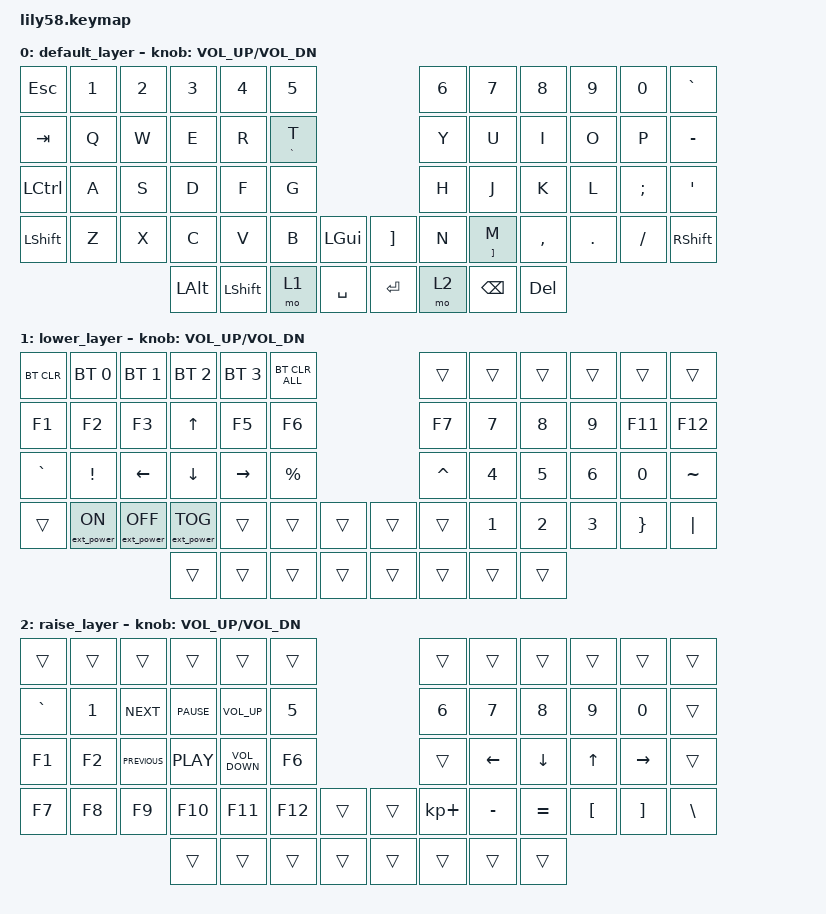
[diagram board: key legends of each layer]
/*
 * Copyright (c) 2020 The ZMK Contributors
 *
 * SPDX-License-Identifier: MIT
 */

#include <behaviors.dtsi>
#include <dt-bindings/zmk/bt.h>
#include <dt-bindings/zmk/ext_power.h>
#include <dt-bindings/zmk/keys.h>

/ {
    combos {
        compatible = "zmk,combos";

        z {
            bindings = <&kp LEFT_PARENTHESIS>;
            key-positions = <27 28>;
        };

        z1 {
            bindings = <&kp RIGHT_PARENTHESIS>;
            key-positions = <31 32>;
        };

        ss {
            bindings = <&kp BACKSLASH>;
            key-positions = <40 39>;
        };

        sss {
            bindings = <&kp SLASH>;
            key-positions = <45 46>;
        };
    };

    behaviors {
        ss_hs_modmorph: ss_hs_modmorph {
            compatible = "zmk,behavior-mod-morph";
            label = "SS_HS_MODMORPH";
            bindings = <&kp M>, <&kp RIGHT_BRACKET>;

            #binding-cells = <0>;
            mods = <(MOD_LSFT|MOD_RSFT)>;
        };

        kh_hs_tapdance: kh_hs_tapdance {
            compatible = "zmk,behavior-tap-dance";
            label = "KH_HS_TAPDANCE";
            #binding-cells = <0>;
            tapping-term-ms = <200>;
            bindings = <&kp LEFT_BRACKET>, <&kp RIGHT_BRACKET>;
        };

        hrm: hrm {
            compatible = "zmk,behavior-hold-tap";
            #binding-cells = <2>;
            flavor = "tap-preferred";
            tapping-term-ms = <200>;
            quick-tap-ms = <200>;
            require-prior-idle-ms = <125>;
            bindings = <&kp>, <&kp>;
        };
    };

    keymap {
        compatible = "zmk,keymap";

        default_layer {
            // ------------------------------------------------------------------------------------------------------------
            // |  ESC  |  1  |  2  |  3   |  4   |  5   |                   |  6   |  7    |  8    |  9   |   0   |   `   |
            // |  TAB  |  Q  |  W  |  E   |  R   |  T   |                   |  Y   |  U    |  I    |  O   |   P   |   -   |
            // |  CTRL |  A  |  S  |  D   |  F   |  G   |                   |  H   |  J    |  K    |  L   |   ;   |   '   |
            // | SHIFT |  Z  |  X  |  C   |  V   |  B   |   "["  |  |  "]"  |  N   |  M    |  ,    |  .   |   /   | SHIFT |
            //                     | ALT  | GUI  | LOWER|  SPACE |  | ENTER | RAISE| BSPC  | GUI   |

            bindings = <
&kp ESC    &kp N1  &kp N2  &kp N3    &kp N4          &kp N5                                  &kp N6  &kp N7       &kp N8     &kp N9   &kp N0    &kp GRAVE
&kp TAB    &kp Q   &kp W   &kp E     &kp R           &hrm GRAVE T                            &kp Y   &kp U        &kp I      &kp O    &kp P     &kp MINUS
&kp LCTRL  &kp A   &kp S   &kp D     &kp F           &kp G                                   &kp H   &kp J        &kp K      &kp L    &kp SEMI  &kp SQT
&kp LSHFT  &kp Z   &kp X   &kp C     &kp V           &kp B         &kp LEFT_GUI    &kp RBKT  &kp N   &hrm RBKT M  &kp COMMA  &kp DOT  &kp FSLH  &kp RSHFT
                           &kp LALT  &kp LEFT_SHIFT  &mo 1         &kp SPACE       &kp RET   &mo 2   &kp BSPC     &kp DEL
            >;

            sensor-bindings = <&inc_dec_kp C_VOL_UP C_VOL_DN>;
        };

        lower_layer {
            // ------------------------------------------------------------------------------------------------------------
            // | BTCLR | BT1 | BT2 |  BT3 |  BT4 |  BT5 |                   |      |       |       |      |       |       |
            // |  F1   |  F2 |  F3 |  F4  |  F5  |  F6  |                   |  F7  |  F8   |  F9   |  F10 |  F11  |  F12  |
            // |   `   |  !  |  @  |  #   |  $   |  %   |                   |  ^   |  &    |  *    |  (   |   )   |   ~   |
            // |       |     |     |      |      |      |        |  |       |      |  _    |  +    |  {   |   }   |  "|"  |
            //                     |      |      |      |        |  |       |      |       |       |

            bindings = <
&bt BT_CLR  &bt BT_SEL 0      &bt BT_SEL 1       &bt BT_SEL 2       &bt BT_SEL 3     &bt BT_CLR_ALL                    &trans     &trans        &trans        &trans        &trans        &trans
&kp F1      &kp F2            &kp F3             &kp UP_ARROW       &kp F5           &kp F6                            &kp F7     &kp NUMBER_7  &kp NUMBER_8  &kp N9        &kp F11       &kp F12
&kp GRAVE   &kp EXCL          &kp LEFT_ARROW     &kp DOWN_ARROW     &kp RIGHT_ARROW  &kp PRCNT                         &kp CARET  &kp NUMBER_4  &kp N5        &kp NUMBER_6  &kp NUMBER_0  &kp TILDE
&trans      &ext_power EP_ON  &ext_power EP_OFF  &ext_power EP_TOG  &trans           &trans          &trans    &trans  &trans     &kp NUMBER_1  &kp NUMBER_2  &kp NUMBER_3  &kp RBRC      &kp PIPE
                                                 &trans             &trans           &trans          &trans    &trans  &trans     &trans        &trans
            >;

            sensor-bindings = <&inc_dec_kp C_VOL_UP C_VOL_DN>;
        };

        raise_layer {
            // ------------------------------------------------------------------------------------------------------------
            // |       |     |     |      |      |      |                   |      |       |       |      |       |       |
            // |   `   |  1  |  2  |  3   |  4   |  5   |                   |  6   |   7   |   8   |  9   |   0   |       |
            // |   F1  |  F2 |  F3 |  F4  |  F5  |  F6  |                   |      |   <-  |   v   |  ^   |  ->   |       |
            // |   F7  |  F8 |  F9 |  F10 |  F11 |  F12 |        |  |       |  +   |   -   |   =   |  [   |   ]   |   \   |
            //                     |      |      |      |        |  |       |      |       |       |

            bindings = <
&trans     &trans  &trans          &trans       &trans             &trans                     &trans       &trans     &trans     &trans    &trans     &trans
&kp GRAVE  &kp N1  &kp C_NEXT      &kp C_PAUSE  &kp C_VOLUME_UP    &kp N5                     &kp N6       &kp N7     &kp N8     &kp N9    &kp N0     &trans
&kp F1     &kp F2  &kp C_PREVIOUS  &kp C_PLAY   &kp C_VOLUME_DOWN  &kp F6                     &trans       &kp LEFT   &kp DOWN   &kp UP    &kp RIGHT  &trans
&kp F7     &kp F8  &kp F9          &kp F10      &kp F11            &kp F12  &trans    &trans  &kp KP_PLUS  &kp MINUS  &kp EQUAL  &kp LBKT  &kp RBKT   &kp BSLH
                                   &trans       &trans             &trans   &trans    &trans  &trans       &trans     &trans
            >;

            sensor-bindings = <&inc_dec_kp C_VOL_UP C_VOL_DN>;
        };
    };
};
